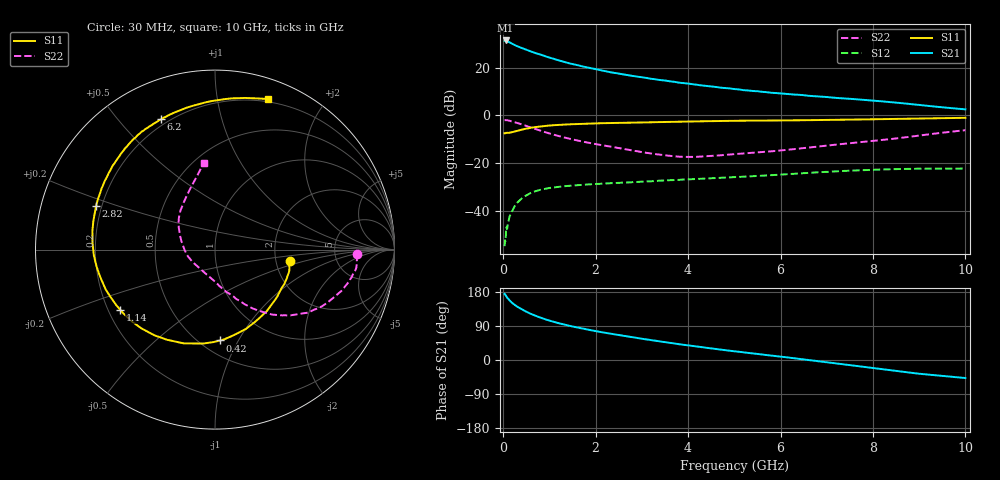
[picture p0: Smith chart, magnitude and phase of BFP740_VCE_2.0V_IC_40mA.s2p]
! Infineon Technologies  Discrete & RF Semiconductors
! BFP740
! VCE =  2.0 V,  IC =  40 mA
! Common Emitter S-Parameters:  Jan 2016
# GHz  S  MA  R  50
!  f  S11  S21  S12  S22
! GHz  MAG  ANG  MAG  ANG  MAG  ANG  MAG  ANG
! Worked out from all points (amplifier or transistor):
!   229 points, 30 MHz to 10 GHz, reference 50 ohm
!   highest |S21| = 31.4 dB at 50 MHz (marker M1)
!   |S21| within 3 dB of that: start of sweep to 379.1 MHz
!   unconditionally stable (mu >= 1): start of sweep to 92.07 MHz; 3.314 GHz to end of sweep
!   at 280 MHz: K = 0.56, MSG = 33.2 dB, |S12| = -37.2 dB
!   at 1.78 GHz: K = 0.70, MSG = 24.7 dB, |S12| = -29.0 dB
!   at 10 GHz: K = 1.12, MAG = 10.3 dB, |S12| = -22.3 dB
!   S11 on the Smith chart (normalised r, x): 30 MHz: 2.38, -0.36; 420 MHz: 0.62, -0.84; 1.14 GHz: 0.25, -0.27; 2.82 GHz: 0.18, +0.17; 6.2 GHz: 0.17, +0.66; 10 GHz: 0.17, +1.40
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0.03  0.4197 -8.5  37 174.7  0.0018 54.6  0.7919 -1.8
0.04  0.4189 -11.1  36.83 173.0  0.0024 61.6  0.7942 -3.0
0.05  0.4263 -13.4  37.35 171.3  0.0023 70.1  0.7921 -4.2
0.08  0.4307 -21.4  36.65 165.4  0.0041 61.9  0.794 -7.3
0.12  0.4299 -32.0  34.61 159.3  0.0063 75.3  0.7769 -11.5
0.2  0.448 -49.9  31.62 149.8  0.0101 66.9  0.741 -18.1
0.3  0.4743 -68.7  28.47 140.9  0.0146 62.5  0.6941 -25.0
0.42  0.507 -86.9  25.56 132.4  0.0187 55.8  0.6383 -32.3
0.6  0.5509 -108.5  21.93 121.6  0.0237 48.2  0.5573 -41.1
0.7  0.5689 -118.0  20.18 116.6  0.0257 45.8  0.5168 -45.1
0.9  0.6011 -133.3  17.49 107.7  0.0286 39.6  0.4459 -51.7
1.14  0.6257 -147.6  14.83 99.1  0.0311 35.1  0.382 -58.0
1.4  0.6481 -159.9  12.53 91.0  0.0331 31.1  0.3292 -63.1
1.7  0.6652 -170.9  10.71 83.2  0.0347 28.6  0.2835 -68.1
2.2  0.6856 174.4  8.519 71.8  0.0371 25.7  0.2313 -77.3
2.82  0.7058 159.7  6.669 59.4  0.0397 23.8  0.1817 -88.7
3.4  0.7239 148.0  5.509 48.8  0.0428 22.5  0.1495 -106.2
5.1  0.7704 123.0  3.498 21.6  0.0511 18.3  0.1565 -167.2
6.2  0.7856 112.4  2.781 6.1  0.0589 15.2  0.1919 166.4
6.8  0.7975 105.9  2.502 -2.8  0.0638 11.7  0.2209 153.8
8.4  0.8413 85.9  1.892 -27.3  0.0742 -0.5  0.3195 122.4
10  0.8891 70.7  1.337 -47.6  0.0765 -11.7  0.4888 97.5
